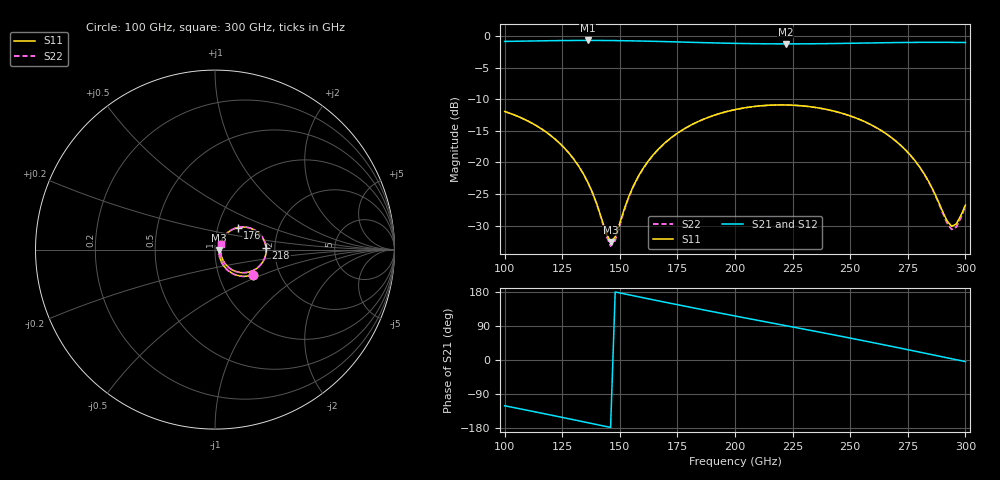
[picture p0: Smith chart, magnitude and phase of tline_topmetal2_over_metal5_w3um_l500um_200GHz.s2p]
#  GHZ S DB R 50
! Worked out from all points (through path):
!   101 points, 100 GHz to 300 GHz, reference 50 ohm
!   highest |S21| = -0.70 dB at 136 GHz (marker M1); lowest = -1.2 dB at 222 GHz (marker M2)
!   group delay of S21, straight-line fit = 3.35 ps
!   lowest |S11| = -32.6 dB at 146 GHz (marker M3), VSWR 1.05, Z = 52.4 - j0.353 ohm
!   |S11| at or under -10 dB: start of sweep to end of sweep
!   |S22| runs from -33.3 to -10.9 dB; largest |S21 - S12| = 1.1e-14
!   S11 on the Smith chart (normalised r, x): 100 GHz: 1.45, -0.44; 176 GHz: 1.24, +0.31; 218 GHz: 1.80, +0.03; 300 GHz: 1.07, +0.06
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100  -11.94 -33.9  -0.86 -120.8  -0.86 -120.8  -11.93 -34.1
120  -15.74 -53.9  -0.74 -145.2  -0.74 -145.2  -15.74 -54.4
128  -18.55 -60.1  -0.71 -155.2  -0.71 -155.2  -18.56 -60.8
134  -21.68 -62.1  -0.70 -162.8  -0.70 -162.8  -21.71 -63.3
136  -23.05 -61.6  -0.70 -165.3  -0.70 -165.3  -23.09 -63.0
146  -32.58 -8.2  -0.72 -178.0  -0.72 -178.0  -33.25 -9.3
148  -31.79 19.3  -0.73 179.5  -0.73 179.5  -32.39 20.5
154  -25.31 51.9  -0.76 172.0  -0.76 172.0  -25.47 53.6
158  -22.22 55.2  -0.79 166.9  -0.79 166.9  -22.31 56.4
168  -17.45 51.0  -0.87 154.5  -0.87 154.5  -17.48 51.8
176  -15.13 44.1  -0.95 144.7  -0.95 144.7  -15.16 44.8
200  -11.64 20.1  -1.16 116.2  -1.16 116.2  -11.66 20.4
218  -10.91 1.4  -1.24 95.3  -1.24 95.3  -10.92 1.7
222  -10.91 -2.8  -1.24 90.6  -1.24 90.6  -10.92 -2.5
234  -11.25 -15.2  -1.23 76.7  -1.23 76.7  -11.26 -15.0
250  -12.64 -31.6  -1.15 57.8  -1.15 57.8  -12.65 -31.4
268  -16.09 -48.3  -1.05 35.9  -1.05 35.9  -16.11 -48.4
276  -18.80 -53.4  -1.01 26.0  -1.01 26.0  -18.83 -53.7
282  -21.74 -53.8  -1.00 18.4  -1.00 18.4  -21.79 -54.4
294  -30.11 -5.6  -1.01 3.3  -1.01 3.3  -30.61 -5.7
296  -29.76 14.1  -1.01 0.8  -1.01 0.8  -30.25 15.3
300  -26.76 39.9  -1.03 -4.2  -1.03 -4.2  -27.02 42.0
